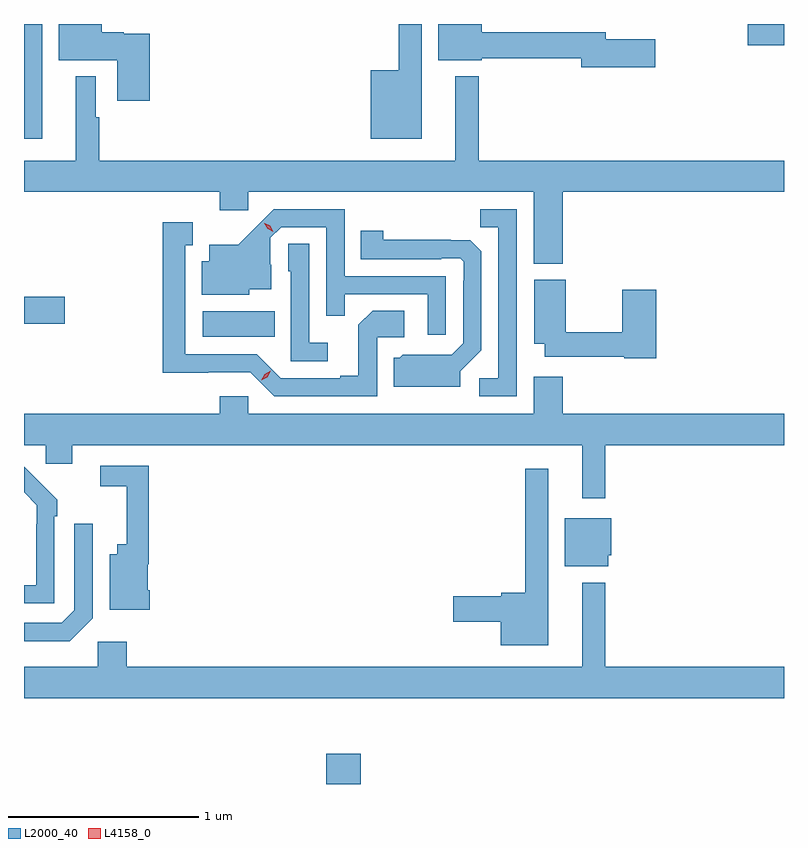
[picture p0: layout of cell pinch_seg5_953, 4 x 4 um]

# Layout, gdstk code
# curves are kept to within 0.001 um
import gdstk
lib = gdstk.Library(unit=1e-6, precision=1e-09)
def R(c, l, rs):  # rectangles x0, y0, x1, y1
    for r in rs: c.add(gdstk.rectangle(r[:2], r[2:], *l))
def P(c, l, *ps):  # polygons
    for p in ps: c.add(gdstk.Polygon(p, *l))
L2000_40 = (2000, 40)
L4158_0 = (4158, 0)

pinch_seg5_953 = lib.new_cell('pinch_seg5_953')
R(pinch_seg5_953, L2000_40, [(720.332,881.616,720.515,881.776), (719.682,883.97,720.062,884.104), (718.742,884.038,718.957,884.18), (718.742,885.011,718.837,885.616), (722.552,885.503,722.742,885.616)])
P(pinch_seg5_953, L2000_40, [(719.405,885.565),(719.268,885.565),(719.268,885.573),(719.152,885.573),(719.152,885.616),(718.925,885.616),(718.925,885.425),(719.234,885.425),(719.234,885.213),(719.405,885.213)],
  [(720.835,885.616),(720.714,885.616),(720.714,885.373),(720.566,885.373),(720.566,885.011),(720.835,885.011)],
  [(722.065,885.536),(721.804,885.536),(721.804,885.572),(721.15,885.572),(721.15,885.616),(720.923,885.616),(720.923,885.425),(721.15,885.425),(721.15,885.436),(721.676,885.436),(721.676,885.389),(722.065,885.389)],
  [(721.577,884.732),(722.742,884.732),(722.742,884.896),(721.135,884.896),(721.135,885.34),(721.013,885.34),(721.013,884.896),(719.137,884.896),(719.137,885.125),(719.119,885.125),(719.119,885.34),(719.015,885.34),(719.015,884.896),(718.742,884.896),(718.742,884.732),(719.771,884.732),(719.771,884.637),(719.922,884.637),(719.922,884.732),(721.424,884.732),(721.424,884.354),(721.577,884.354)],
  [(720.963,884.289),(720.429,884.289),(720.429,884.64),(720.056,884.64),(719.869,884.455),(719.717,884.455),(719.717,884.368),(719.678,884.368),(719.678,884.192),(719.928,884.192),(719.928,884.219),(720.043,884.219),(720.043,884.348),(720.039,884.348),(720.039,884.49),(720.096,884.547),(720.333,884.547),(720.333,884.08),(720.431,884.08),(720.431,884.193),(720.867,884.193),(720.867,883.98),(720.963,883.98)],
  [(721.335,884.64),(721.144,884.64),(721.144,884.545),(721.239,884.545),(721.239,883.752),(721.137,883.752),(721.137,883.656),(721.335,883.656)],
  [(720.6,883.968),(720.742,883.968),(720.742,884.108),(720.577,884.108),(720.501,884.032),(720.501,883.765),(720.407,883.765),(720.407,883.752),(720.093,883.752),(719.967,883.878),(719.59,883.878),(719.59,884.451),(719.629,884.451),(719.629,884.572),(719.472,884.572),(719.472,883.781),(719.934,883.782),(720.06,883.656),(720.6,883.656)],
  [(721.039,883.788),(721.149,883.898),(721.149,884.42),(721.09,884.479),(720.633,884.48),(720.633,884.527),(720.514,884.527),(720.514,884.379),(720.938,884.379),(720.938,884.382),(721.038,884.382),(721.056,884.364),(721.056,884.264),(721.053,884.264),(721.053,883.935),(720.993,883.875),(720.736,883.876),(720.72,883.86),(720.689,883.86),(720.689,883.706),(721.039,883.706)],
  [(720.34,883.939),(720.243,883.939),(720.243,884.459),(720.132,884.459),(720.132,884.316),(720.147,884.316),(720.147,883.842),(720.34,883.842)],
  [(722.069,884.218),(721.891,884.218),(721.891,883.994),(721.594,883.994),(721.594,884.269),(721.427,884.269),(721.427,883.934),(721.484,883.934),(721.484,883.866),(721.902,883.866),(721.902,883.858),(722.069,883.858)],
  [(721.577,883.759),(721.424,883.759),(721.424,883.564),(719.922,883.564),(719.922,883.657),(719.771,883.657),(719.771,883.564),(718.742,883.564),(718.742,883.4),(718.857,883.4),(718.857,883.302),(718.996,883.302),(718.996,883.4),(721.679,883.4),(721.679,883.119),(721.801,883.119),(721.801,883.4),(722.742,883.4),(722.742,883.564),(721.577,883.564)],
  [(719.405,882.637),(719.392,882.637),(719.392,882.773),(719.399,882.773),(719.399,883.29),(719.142,883.29),(719.142,883.182),(719.282,883.182),(719.282,882.877),(719.234,882.877),(719.234,882.826),(719.192,882.826),(719.192,882.533),(719.405,882.533)],
  [(718.902,883.025),(718.917,883.025),(718.917,883.113),(718.742,883.286),(718.742,883.151),(718.809,883.083),(718.809,882.983),(718.806,882.983),(718.806,882.663),(718.742,882.663),(718.742,882.567),(718.902,882.567)],
  [(721.501,883.276),(721.38,883.276),(721.38,882.623),(721.254,882.623),(721.254,882.605),(721.002,882.605),(721.002,882.47),(721.25,882.47),(721.25,882.347),(721.501,882.347)],
  [(721.816,882.819),(721.834,882.819),(721.834,883.015),(721.589,883.015),(721.589,882.761),(721.816,882.761)],
  [(719.103,882.489),(719.103,882.985),(719.007,882.985),(719.007,882.531),(718.941,882.465),(718.742,882.465),(718.742,882.368),(718.982,882.368)],
  [(722.742,882.232),(721.801,882.232),(721.801,882.676),(721.679,882.676),(721.679,882.232),(719.282,882.232),(719.282,882.364),(719.13,882.364),(719.13,882.232),(718.742,882.232),(718.742,882.068),(722.742,882.068)])
P(pinch_seg5_953, L4158_0, [(720.055,884.523),(720.024,884.538),(720.007,884.567),(720.007,884.568),(720.008,884.568),(720.038,884.553),(720.055,884.523),(720.055,884.523)],
  [(719.991,883.74),(719.991,883.74),(720.009,883.772),(720.04,883.791),(720.041,883.791),(720.041,883.791),(720.023,883.758),(719.991,883.74)])

lib.write_gds('pinch_seg5_953.gds')
